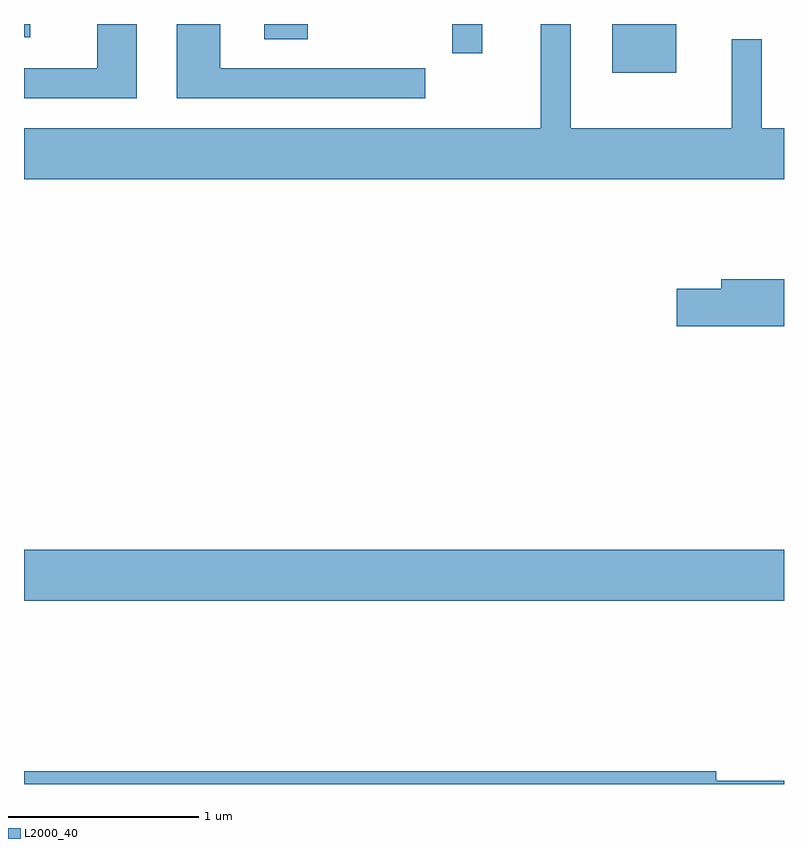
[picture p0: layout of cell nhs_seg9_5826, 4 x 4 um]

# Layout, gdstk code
import gdstk
lib = gdstk.Library(unit=1e-6, precision=1e-09)
def R(c, l, rs):  # rectangles x0, y0, x1, y1
    for r in rs: c.add(gdstk.rectangle(r[:2], r[2:], *l))
def P(c, l, *ps):  # polygons
    for p in ps: c.add(gdstk.Polygon(p, *l))
L2000_40 = (2000, 40)

nhs_seg9_5826 = lib.new_cell('nhs_seg9_5826')
R(nhs_seg9_5826, L2000_40, [(357.611,1967.396,361.611,1967.664), (360.706,1970.176,361.044,1970.432), (358.876,1970.351,359.104,1970.432), (357.611,1970.361,357.643,1970.432)])
P(nhs_seg9_5826, L2000_40, [(361.611,1969.884),(361.494,1969.884),(361.494,1970.353),(361.336,1970.353),(361.336,1969.884),(360.489,1969.884),(360.489,1970.432),(360.331,1970.432),(360.331,1969.884),(357.611,1969.884),(357.611,1969.616),(361.611,1969.616)],
  [(358.204,1970.432),(357.996,1970.432),(357.996,1970.199),(357.611,1970.199),(357.611,1970.041),(358.204,1970.041)],
  [(359.723,1970.199),(358.644,1970.199),(358.644,1970.432),(358.416,1970.432),(358.416,1970.041),(359.723,1970.041)],
  [(360.024,1970.432),(359.256,1970.432),(359.256,1970.431),(359.866,1970.431),(359.866,1970.278),(360.024,1970.278)],
  [(361.611,1969.089),(361.281,1969.089),(361.281,1969.039),(361.046,1969.039),(361.046,1968.841),(361.611,1968.841)],
  [(361.611,1966.449),(361.254,1966.449),(361.254,1966.499),(357.611,1966.499),(357.611,1966.432),(361.611,1966.432)])

lib.write_gds('nhs_seg9_5826.gds')
